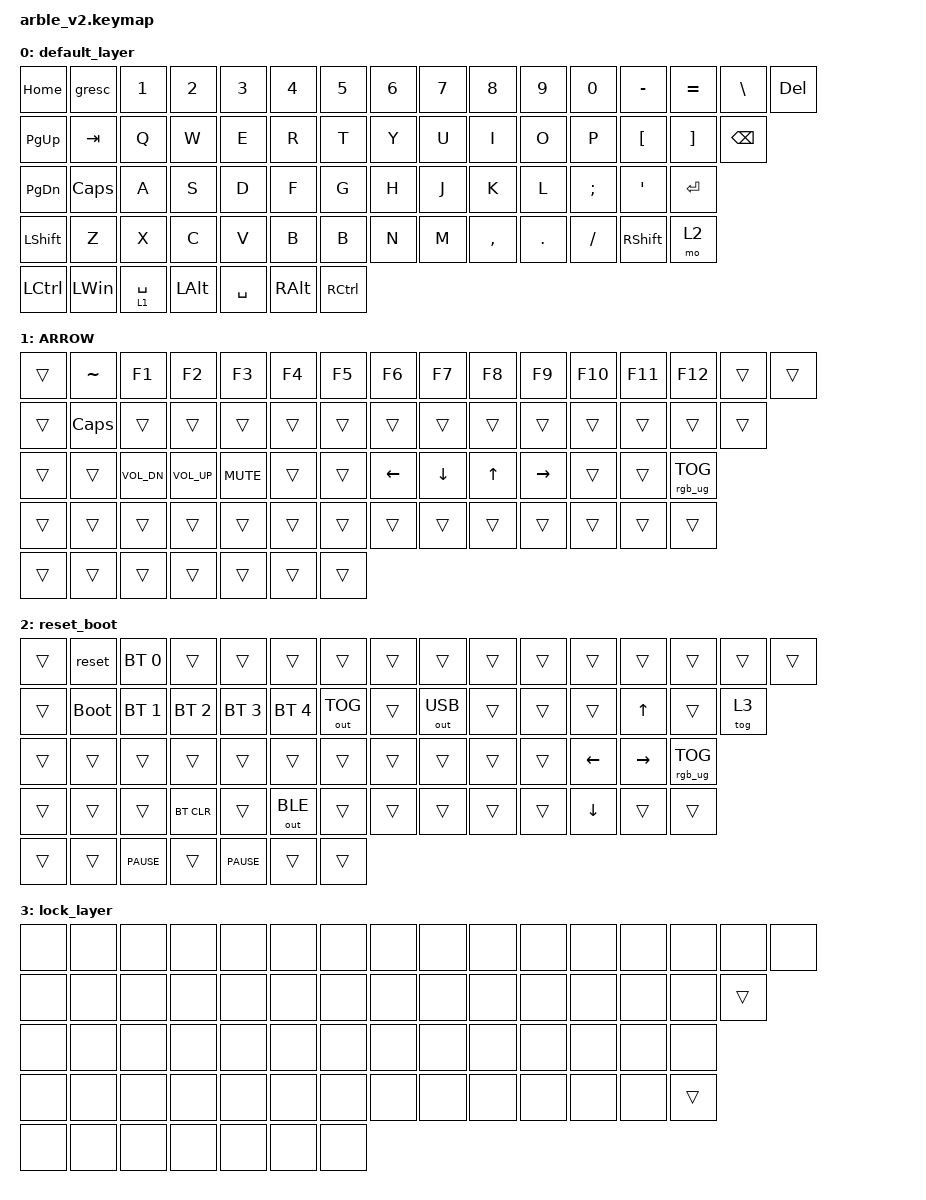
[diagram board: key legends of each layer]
/*
 * Copyright (c) 2021 Nick Winans
 *
 * SPDX-License-Identifier: MIT
 */

#include <behaviors.dtsi>
#include <dt-bindings/zmk/bt.h>
#include <dt-bindings/zmk/keys.h>
#include <dt-bindings/zmk/outputs.h>
#include <dt-bindings/zmk/rgb.h>

/ {
    keymap {
        compatible = "zmk,keymap";

        default_layer {
            bindings = <
&kp HOME     &gresc        &kp N1       &kp N2        &kp N3     &kp N4    &kp N5     &kp N6  &kp N7  &kp N8     &kp N9   &kp N0    &kp MINUS  &kp EQUAL  &kp BACKSLASH  &kp DELETE
&kp PAGE_UP  &kp TAB       &kp Q        &kp W         &kp E      &kp R     &kp T      &kp Y   &kp U   &kp I      &kp O    &kp P     &kp LBKT   &kp RBKT   &kp BACKSPACE
&kp PG_DN    &kp CAPS      &kp A        &kp S         &kp D      &kp F     &kp G      &kp H   &kp J   &kp K      &kp L    &kp SEMI  &kp SQT    &kp RET
&kp LSHFT    &kp Z         &kp X        &kp C         &kp V      &kp B     &kp B      &kp N   &kp M   &kp COMMA  &kp DOT  &kp FSLH  &kp RSHFT  &mo 2
&kp LCTRL    &kp LEFT_WIN  &lt 1 SPACE  &kp LEFT_ALT  &kp SPACE  &kp RALT  &kp RCTRL
            >;
        };

        ARROW {
            bindings = <
&trans  &kp TILDE  &kp F1        &kp F2        &kp F3      &kp F4  &kp F5  &kp F6    &kp F7    &kp F8  &kp F9     &kp F10  &kp F11  &kp F12          &trans  &trans
&trans  &kp CAPS   &trans        &trans        &trans      &trans  &trans  &trans    &trans    &trans  &trans     &trans   &trans   &trans           &trans
&trans  &trans     &kp C_VOL_DN  &kp C_VOL_UP  &kp K_MUTE  &trans  &trans  &kp LEFT  &kp DOWN  &kp UP  &kp RIGHT  &trans   &trans   &rgb_ug RGB_TOG
&trans  &trans     &trans        &trans        &trans      &trans  &trans  &trans    &trans    &trans  &trans     &trans   &trans   &trans
&trans  &trans     &trans        &trans        &trans      &trans  &trans
            >;
        };

        reset_boot {
            bindings = <
&trans  &reset       &bt BT_SEL 0  &trans        &trans        &trans        &trans        &trans  &trans        &trans  &trans  &trans    &trans     &trans           &trans  &trans
&trans  &bootloader  &bt BT_SEL 1  &bt BT_SEL 2  &bt BT_SEL 3  &bt BT_SEL 4  &out OUT_TOG  &trans  &out OUT_USB  &trans  &trans  &trans    &kp UP     &trans           &tog 3
&trans  &trans       &trans        &trans        &trans        &trans        &trans        &trans  &trans        &trans  &trans  &kp LEFT  &kp RIGHT  &rgb_ug RGB_TOG
&trans  &trans       &trans        &bt BT_CLR    &trans        &out OUT_BLE  &trans        &trans  &trans        &trans  &trans  &kp DOWN  &trans     &trans
&trans  &trans       &kp C_PAUSE   &trans        &kp C_PAUSE   &trans        &trans
            >;
        };

        lock_layer {
            bindings = <
&none  &none  &none  &none  &none  &none  &none  &none  &none  &none  &none  &none  &none  &none   &none   &none
&none  &none  &none  &none  &none  &none  &none  &none  &none  &none  &none  &none  &none  &none   &trans
&none  &none  &none  &none  &none  &none  &none  &none  &none  &none  &none  &none  &none  &none
&none  &none  &none  &none  &none  &none  &none  &none  &none  &none  &none  &none  &none  &trans
&none  &none  &none  &none  &none  &none  &none
            >;
        };
    };
};
